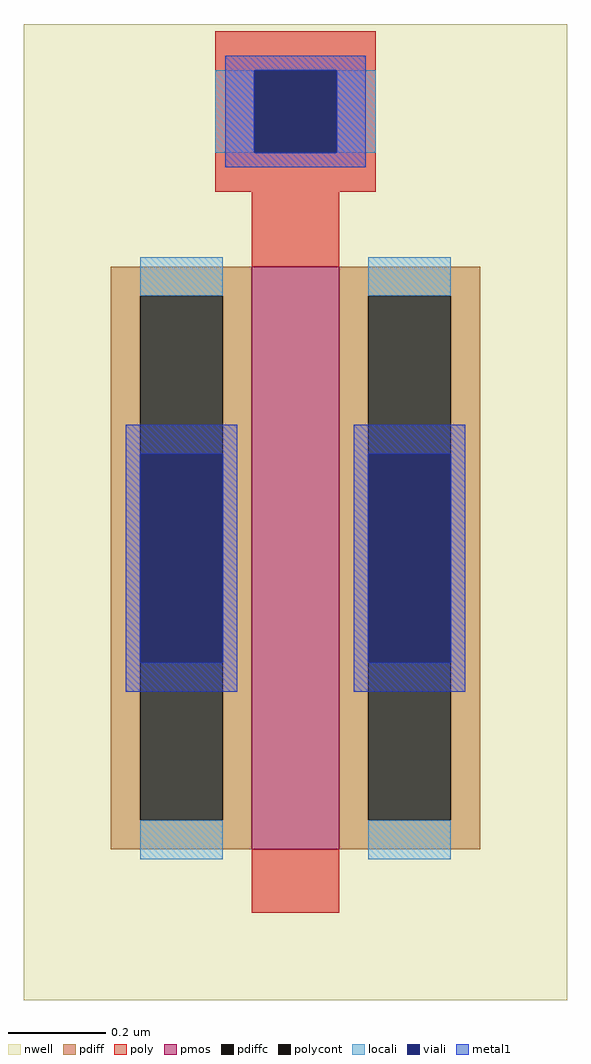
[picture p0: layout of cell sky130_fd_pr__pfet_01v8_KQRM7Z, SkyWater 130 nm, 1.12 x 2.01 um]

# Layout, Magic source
magic
tech sky130A
magscale 1 2
<< nwell >>
rect -112 -218 112 184
<< pmos >>
rect -18 -156 18 84
<< pdiff >>
rect -76 72 -18 84
rect -76 -144 -64 72
rect -30 -144 -18 72
rect -76 -156 -18 -144
rect 18 72 76 84
rect 18 -144 30 72
rect 64 -144 76 72
rect 18 -156 76 -144
<< pdiffc >>
rect -64 -144 -30 72
rect 30 -144 64 72
<< poly >>
rect -33 165 33 181
rect -33 131 -17 165
rect 17 131 33 165
rect -33 115 33 131
rect -18 84 18 115
rect -18 -182 18 -156
<< polycont >>
rect -17 131 17 165
<< locali >>
rect -33 131 -17 165
rect 17 131 33 165
rect -64 72 -30 88
rect -64 -160 -30 -144
rect 30 72 64 88
rect 30 -160 64 -144
<< viali >>
rect -17 131 17 165
rect -64 -79 -30 7
rect 30 -79 64 7
<< metal1 >>
rect -29 165 29 171
rect -29 131 -17 165
rect 17 131 29 165
rect -29 125 29 131
rect -70 7 -24 19
rect -70 -79 -64 7
rect -30 -79 -24 7
rect -70 -91 -24 -79
rect 24 7 70 19
rect 24 -79 30 7
rect 64 -79 70 7
rect 24 -91 70 -79
<< properties >>
string gencell sky130_fd_pr__pfet_01v8
string library sky130
string parameters w 1.2 l 0.18 m 1 nf 1 diffcov 100 polycov 100 guard 0 glc 0 grc 0 gtc 1 gbc 1 tbcov 100 rlcov 100 topc 1 botc 0 poverlap 0 doverlap 1 lmin 0.15 wmin 0.42 compatible {sky130_fd_pr__pfet_01v8  sky130_fd_pr__pfet_01v8_lvt sky130_fd_pr__pfet_01v8_hvt  sky130_fd_pr__pfet_g5v0d10v5} full_metal 0 viasrc 40 viadrn 40 viagate 100 viagb 0 viagr 0 viagl 0 viagt 80
<< end >>
